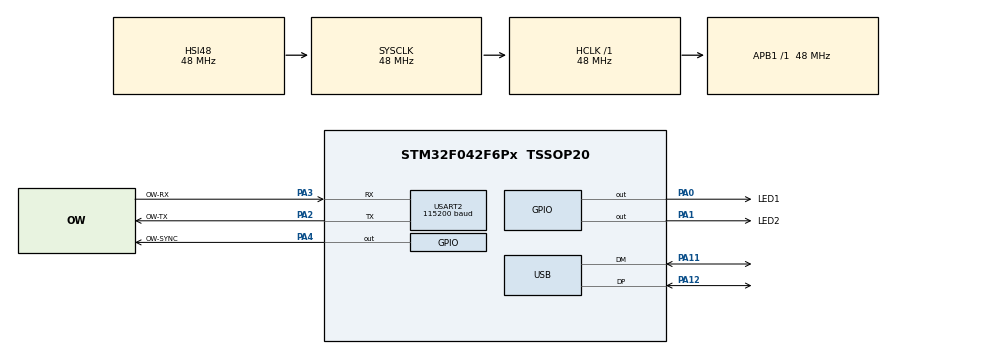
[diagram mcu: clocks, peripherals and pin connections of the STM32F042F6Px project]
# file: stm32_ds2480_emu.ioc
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Dma.Request0=USART2_RX
Dma.Request1=USART2_TX
Dma.USART2_RX.0.Direction=DMA_PERIPH_TO_MEMORY
Dma.USART2_RX.0.Instance=DMA1_Channel5
Dma.USART2_RX.0.MemDataAlignment=DMA_MDATAALIGN_BYTE
Dma.USART2_RX.0.MemInc=DMA_MINC_ENABLE
Dma.USART2_RX.0.Mode=DMA_NORMAL
Dma.USART2_RX.0.PeriphDataAlignment=DMA_PDATAALIGN_BYTE
Dma.USART2_RX.0.PeriphInc=DMA_PINC_DISABLE
Dma.USART2_RX.0.Priority=DMA_PRIORITY_HIGH
Dma.USART2_TX.1.Direction=DMA_MEMORY_TO_PERIPH
Dma.USART2_TX.1.Instance=DMA1_Channel4
Dma.USART2_TX.1.MemDataAlignment=DMA_MDATAALIGN_BYTE
Dma.USART2_TX.1.MemInc=DMA_MINC_ENABLE
Dma.USART2_TX.1.Mode=DMA_NORMAL
Dma.USART2_TX.1.PeriphDataAlignment=DMA_PDATAALIGN_BYTE
Dma.USART2_TX.1.PeriphInc=DMA_PINC_DISABLE
Dma.USART2_TX.1.Priority=DMA_PRIORITY_HIGH
Mcu.Family=STM32F0
Mcu.Name=STM32F042F6Px
Mcu.Package=TSSOP20
NVIC.DMA1_Channel4_5_IRQn=true\:0\:0\:false\:false\:true\:false\:true
NVIC.USART2_IRQn=true\:0\:0\:false\:false\:true\:true\:true
NVIC.USB_IRQn=true\:0\:0\:false\:false\:true\:false\:true
PA0.GPIO_Label=LED1
PA0.GPIO_ModeDefaultOutputPP=GPIO_MODE_OUTPUT_OD
PA0.PinState=GPIO_PIN_SET
PA0.Signal=GPIO_Output
PA1.GPIO_Label=LED2
PA1.GPIO_ModeDefaultOutputPP=GPIO_MODE_OUTPUT_OD
PA1.PinState=GPIO_PIN_SET
PA1.Signal=GPIO_Output
PA11.Mode=Device
PA11.Signal=USB_DM
PA12.Mode=Device
PA12.Signal=USB_DP
PA13.Mode=Serial_Wire
PA13.Signal=SYS_SWDIO
PA14.Mode=Serial_Wire
PA14.Signal=SYS_SWCLK
PA2.GPIO_Label=OW-TX
PA2.GPIO_ModeDefaultPP=GPIO_MODE_AF_OD
PA2.Mode=Asynchronous
PA2.Signal=USART2_TX
PA3.GPIO_Label=OW-RX
PA3.Mode=Asynchronous
PA3.Signal=USART2_RX
PA4.GPIO_Label=OW-SYNC
PA4.Signal=GPIO_Output
ProjectManager.HeapSize=0x000
ProjectManager.StackSize=0x200
ProjectManager.TargetToolchain=Makefile
RCC.AHBFreq_Value=48000000
RCC.APB1Freq_Value=48000000
RCC.APB1TimFreq_Value=48000000
RCC.HCLKFreq_Value=48000000
RCC.SYSCLKFreq_VALUE=48000000
RCC.SYSCLKSource=RCC_SYSCLKSOURCE_HSI48
USART2.BaudRate=115200
USART2.OneBitSampling=UART_ONE_BIT_SAMPLE_ENABLE
USART2.VirtualMode-Asynchronous=VM_ASYNC
USB_DEVICE.CLASS_NAME_FS=CDC
USB_DEVICE.VirtualMode=Cdc
USB_DEVICE.VirtualModeFS=Cdc_FS
VP_SYS_VS_PINREMAP.Mode=PINREMAP
VP_USB_DEVICE_VS_USB_DEVICE_CDC_FS.Mode=CDC_FS
board=custom

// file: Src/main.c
/* USER CODE BEGIN Header */
/**
  ******************************************************************************
  * @file           : main.c
  * @brief          : Main program body
  ******************************************************************************
  * @attention
  *
  * <h2><center>&copy; Copyright (c) 2019 STMicroelectronics.
  * All rights reserved.</center></h2>
  *
  * This software component is licensed by ST under Ultimate Liberty license
  * SLA0044, the "License"; You may not use this file except in compliance with
  * the License. You may obtain a copy of the License at:
  *                             www.st.com/SLA0044
  *
  ******************************************************************************
  */
/* USER CODE END Header */

#include "main.h"
#include "usb_device.h"

/* USER CODE BEGIN Includes */
#include "ds2480b.h"
#include "usbd_cdc.h"

/* USER CODE END Includes */

UART_HandleTypeDef huart2;
DMA_HandleTypeDef hdma_usart2_rx;
DMA_HandleTypeDef hdma_usart2_tx;

/* USER CODE BEGIN PV */
struct ds2480b ds2480b;
uint32_t led1_tick_count;
uint32_t led2_tick_count;
__IO int cdc_receiver_busy;
__IO uint32_t cdc_rx_data_length;
__IO const uint8_t *cdc_rx_buffer;
extern USBD_HandleTypeDef hUsbDeviceFS;
/* Private variables ---------------------------------------------------------*/

/* USER CODE END PV */

void SystemClock_Config(void);
static void MX_GPIO_Init(void);
static void MX_DMA_Init(void);
static void MX_USART2_UART_Init(void);
/* USER CODE BEGIN PFP */
/* Private function prototypes -----------------------------------------------*/

/* USER CODE END PFP */

int main(void)
{

  /* MCU Configuration--------------------------------------------------------*/

  /* Reset of all peripherals, Initializes the Flash interface and the Systick. */
  HAL_Init();

  /* USER CODE BEGIN Init */
  cdc_receiver_busy = 0;
  cdc_rx_data_length = 0;
  ds2480b_reset(&ds2480b);

  /* USER CODE END Init */

  /* Configure the system clock */
  SystemClock_Config();

  /* Initialize all configured peripherals */
  MX_GPIO_Init();
  MX_DMA_Init();
  MX_USART2_UART_Init();
  MX_USB_DEVICE_Init();

  /* Infinite loop */
  /* USER CODE BEGIN WHILE */
  while (1)
  {
	  if (!cdc_receiver_busy)
	  {
		  if (cdc_rx_data_length != 0)
		  {
			  ds2480b_handle_data(&ds2480b, (const uint8_t*)cdc_rx_buffer, cdc_rx_data_length);
			  cdc_rx_data_length = 0;
		  }

		  if (hUsbDeviceFS.pClassData != 0)
		  {
			  cdc_receiver_busy = 1;
			  USBD_CDC_ReceivePacket(&hUsbDeviceFS);
		  }
	  }

	  if (HAL_GPIO_ReadPin(LED1_GPIO_Port, LED1_Pin) == GPIO_PIN_RESET)
	  {
		  if (HAL_GetTick() - led1_tick_count > 100)
			  HAL_GPIO_WritePin(LED1_GPIO_Port, LED1_Pin, GPIO_PIN_SET);
	  }

	  if (HAL_GPIO_ReadPin(LED2_GPIO_Port, LED2_Pin) == GPIO_PIN_RESET)
	  {
		  if (HAL_GetTick() - led2_tick_count > 100)
			  HAL_GPIO_WritePin(LED2_GPIO_Port, LED2_Pin, GPIO_PIN_SET);
	  }
    /* USER CODE END WHILE */

  }
}

void SystemClock_Config(void)
{
  RCC_OscInitTypeDef RCC_OscInitStruct = {0};
  RCC_ClkInitTypeDef RCC_ClkInitStruct = {0};
  RCC_PeriphCLKInitTypeDef PeriphClkInit = {0};

  /** Initializes the CPU, AHB and APB busses clocks
  */
  RCC_OscInitStruct.OscillatorType = RCC_OSCILLATORTYPE_HSI48;
  RCC_OscInitStruct.HSI48State = RCC_HSI48_ON;
  RCC_OscInitStruct.PLL.PLLState = RCC_PLL_NONE;
  if (HAL_RCC_OscConfig(&RCC_OscInitStruct) != HAL_OK)
  {
    Error_Handler();
  }
  /** Initializes the CPU, AHB and APB busses clocks
  */
  RCC_ClkInitStruct.ClockType = RCC_CLOCKTYPE_HCLK|RCC_CLOCKTYPE_SYSCLK
                              |RCC_CLOCKTYPE_PCLK1;
  RCC_ClkInitStruct.SYSCLKSource = RCC_SYSCLKSOURCE_HSI48;
  RCC_ClkInitStruct.AHBCLKDivider = RCC_SYSCLK_DIV1;
  RCC_ClkInitStruct.APB1CLKDivider = RCC_HCLK_DIV1;

  if (HAL_RCC_ClockConfig(&RCC_ClkInitStruct, FLASH_LATENCY_1) != HAL_OK)
  {
    Error_Handler();
  }
  PeriphClkInit.PeriphClockSelection = RCC_PERIPHCLK_USB;
  PeriphClkInit.UsbClockSelection = RCC_USBCLKSOURCE_HSI48;

  if (HAL_RCCEx_PeriphCLKConfig(&PeriphClkInit) != HAL_OK)
  {
    Error_Handler();
  }
}

static void MX_USART2_UART_Init(void)
{

  huart2.Instance = USART2;
  huart2.Init.BaudRate = 115200;
  huart2.Init.WordLength = UART_WORDLENGTH_8B;
  huart2.Init.StopBits = UART_STOPBITS_1;
  huart2.Init.Parity = UART_PARITY_NONE;
  huart2.Init.Mode = UART_MODE_TX_RX;
  huart2.Init.HwFlowCtl = UART_HWCONTROL_NONE;
  huart2.Init.OverSampling = UART_OVERSAMPLING_16;
  huart2.Init.OneBitSampling = UART_ONE_BIT_SAMPLE_ENABLE;
  huart2.AdvancedInit.AdvFeatureInit = UART_ADVFEATURE_NO_INIT;
  if (HAL_UART_Init(&huart2) != HAL_OK)
  {
    Error_Handler();
  }

}

static void MX_DMA_Init(void)
{
  /* DMA controller clock enable */
  __HAL_RCC_DMA1_CLK_ENABLE();

  /* DMA interrupt init */
  /* DMA1_Channel4_5_IRQn interrupt configuration */
  HAL_NVIC_SetPriority(DMA1_Channel4_5_IRQn, 0, 0);
  HAL_NVIC_EnableIRQ(DMA1_Channel4_5_IRQn);

}

static void MX_GPIO_Init(void)
{
  GPIO_InitTypeDef GPIO_InitStruct = {0};

  /* GPIO Ports Clock Enable */
  __HAL_RCC_GPIOB_CLK_ENABLE();
  __HAL_RCC_GPIOF_CLK_ENABLE();
  __HAL_RCC_GPIOA_CLK_ENABLE();

  /*Configure GPIO pin Output Level */
  HAL_GPIO_WritePin(GPIOA, LED1_Pin|LED2_Pin, GPIO_PIN_SET);

  /*Configure GPIO pin Output Level */
  HAL_GPIO_WritePin(OW_SYNC_GPIO_Port, OW_SYNC_Pin, GPIO_PIN_RESET);

  /*Configure GPIO pins : PB8 PB1 */
  GPIO_InitStruct.Pin = GPIO_PIN_8|GPIO_PIN_1;
  GPIO_InitStruct.Mode = GPIO_MODE_ANALOG;
  GPIO_InitStruct.Pull = GPIO_NOPULL;
  HAL_GPIO_Init(GPIOB, &GPIO_InitStruct);

  /*Configure GPIO pins : PF0 PF1 */
  GPIO_InitStruct.Pin = GPIO_PIN_0|GPIO_PIN_1;
  GPIO_InitStruct.Mode = GPIO_MODE_ANALOG;
  GPIO_InitStruct.Pull = GPIO_NOPULL;
  HAL_GPIO_Init(GPIOF, &GPIO_InitStruct);

  /*Configure GPIO pins : LED1_Pin LED2_Pin */
  GPIO_InitStruct.Pin = LED1_Pin|LED2_Pin;
  GPIO_InitStruct.Mode = GPIO_MODE_OUTPUT_OD;
  GPIO_InitStruct.Pull = GPIO_NOPULL;
  GPIO_InitStruct.Speed = GPIO_SPEED_FREQ_LOW;
  HAL_GPIO_Init(GPIOA, &GPIO_InitStruct);

  /*Configure GPIO pin : OW_SYNC_Pin */
  GPIO_InitStruct.Pin = OW_SYNC_Pin;
  GPIO_InitStruct.Mode = GPIO_MODE_OUTPUT_PP;
  GPIO_InitStruct.Pull = GPIO_NOPULL;
  GPIO_InitStruct.Speed = GPIO_SPEED_FREQ_LOW;
  HAL_GPIO_Init(OW_SYNC_GPIO_Port, &GPIO_InitStruct);

  /*Configure GPIO pins : PA5 PA6 PA7 */
  GPIO_InitStruct.Pin = GPIO_PIN_5|GPIO_PIN_6|GPIO_PIN_7;
  GPIO_InitStruct.Mode = GPIO_MODE_ANALOG;
  GPIO_InitStruct.Pull = GPIO_NOPULL;
  HAL_GPIO_Init(GPIOA, &GPIO_InitStruct);

}

/* USER CODE BEGIN 4 */
void cdc_break_callback()
{
	ds2480b_reset(&ds2480b);
}

void cdc_data_received_callback(const uint8_t *data, uint32_t data_length)
{
	cdc_rx_buffer = data;
	cdc_rx_data_length = data_length;
	cdc_receiver_busy = 0;
}

/* USER CODE END 4 */

void Error_Handler(void)
{
  while(1)
  {
  }
}

/************************ (C) COPYRIGHT STMicroelectronics *****END OF FILE****/
